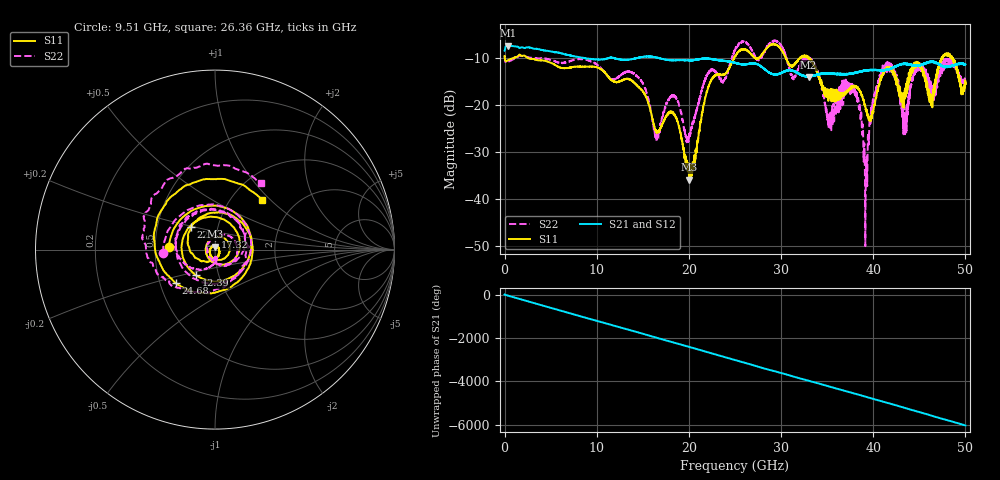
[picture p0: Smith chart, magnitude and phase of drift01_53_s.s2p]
!Created with skrf (http://scikit-rf.org).
# Hz S RI R 50.0
!freq ReS11 ImS11 ReS21 ImS21 ReS12 ImS12 ReS22 ImS22
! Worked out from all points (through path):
!   10001 points, 300 kHz to 50 GHz, reference 50 ohm
!   highest |S21| = -7.33 dB at 330.3 MHz (marker M1); lowest = -14.0 dB at 32.99 GHz (marker M2)
!   group delay of S21, straight-line fit = 335 ps
!   lowest |S11| = -35.9 dB at 20.01 GHz (marker M3), VSWR 1.03, Z = 49.8 + j1.59 ohm
!   |S11| at or under -10 dB: 2.555 GHz to 24.9 GHz (22.35 GHz wide, 163 % of centre); 30.52 GHz to 32.01 GHz (1.499 GHz wide, 4.8 % of centre); 33.06 GHz to 47.41 GHz (14.36 GHz wide, 35.7 % of centre) (the widest 3 of 18)
!   |S22| runs from -50.1 to -6.2 dB; largest |S21 - S12| = 0.0079
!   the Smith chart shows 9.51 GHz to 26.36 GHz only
!   S11 on the Smith chart (normalised r, x): 9.51 GHz: 0.59, +0.02; 12.39 GHz: 0.78, -0.23; 17.32 GHz: 0.99, +0.14; 22.4 GHz: 0.74, +0.19; 24.68 GHz: 0.60, -0.25; 26.36 GHz: 1.38, +0.89
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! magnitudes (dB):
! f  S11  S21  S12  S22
! 300 kHz  -9.5  -8.4  -8.5  -9.4
! 330.3 MHz  -10.5  -7.3  -7.3  -10.9
! 8.335 GHz  -11.8  -9.8  -9.9  -10.2
! 9.51 GHz  -11.8  -10.2  -10.2  -10.8
! 12.39 GHz  -15.0  -10.2  -10.2  -13.9
! 16.67 GHz  -25.8  -10.0  -9.9  -27.1
! 17.32 GHz  -23.2  -10.2  -10.2  -21.5
! 20.01 GHz  -35.9  -10.4  -10.5  -26.9
! 22.4 GHz  -14.8  -10.2  -10.1  -12.5
! 24.68 GHz  -10.8  -10.8  -10.8  -9.9
! 25 GHz  -9.6  -11.0  -11.0  -8.4
! 26.36 GHz  -8.4  -11.2  -11.2  -7.0
! 32.99 GHz  -9.8  -14.0  -13.8  -9.9
! 33.34 GHz  -10.7  -13.8  -13.8  -10.5
! 35.23 GHz  -17.0  -13.3  -13.2  -22.4
! 37.98 GHz  -15.9  -13.1  -13.2  -17.0
! 39.17 GHz  -20.6  -12.6  -12.6  -41.0
! 40.16 GHz  -19.8  -12.5  -12.5  -17.6
! 41.67 GHz  -12.1  -12.3  -12.4  -11.9
! 43.39 GHz  -18.2  -11.3  -11.2  -24.0
! 44.85 GHz  -11.5  -11.6  -11.5  -11.9
! 50 GHz  -15.5  -11.3  -11.3  -15.0
